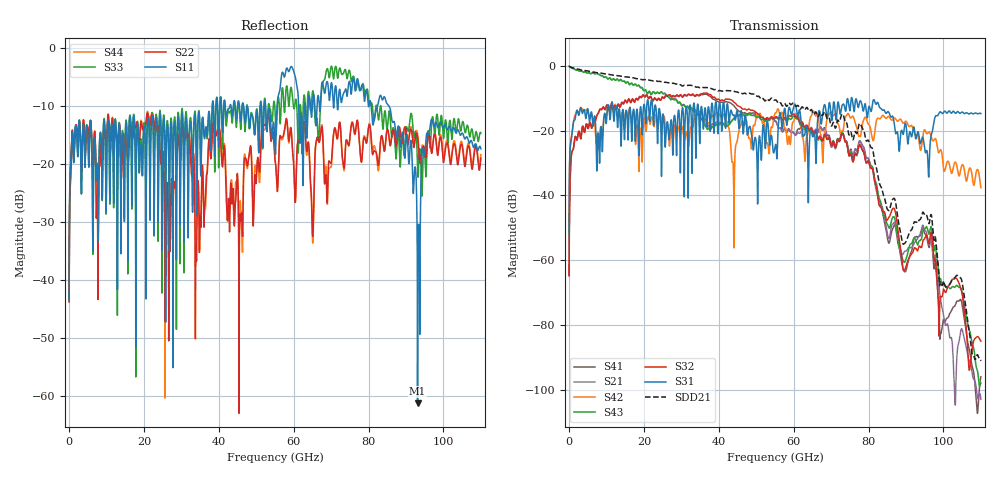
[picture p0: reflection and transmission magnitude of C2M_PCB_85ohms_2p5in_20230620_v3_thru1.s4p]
! Info: Touchstone file created by Circ.  Input file=C2M_PCB_85ohms_2p5in_20230620_v3.circ
# Hz S RI R 50
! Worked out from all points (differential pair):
!   11000 points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, 10 MHz to 110 GHz, reference 50 ohm
!   strongest paths, dB at 10 MHz, 27.51 GHz, 55.01 GHz, 82.51 GHz, 110 GHz:
!     S31: -52.2, -19.5, -25.0, -11.4, -14.7
!     S32: -64.8, -9.4, -15.8, -41.0, -85.0
!     S43: -0.1, -10.2, -16.2, -39.3, -97.9
!     S42: -52.1, -21.2, -14.6, -16.1, -37.6
!     S21: -0.1, -9.9, -16.8, -40.6, -103.0
!     S41: -64.7, -9.6, -17.0, -39.5, -96.0
!   taken as a pair (ports 3,1 in; 4,2 out), SDD21 dB: -0.1, -5.4, -10.5, -34.0, -91.1
!   lowest |S11| = -61.2 dB at 93.08 GHz (marker M1), VSWR 1.00, Z = 50 - j0.0863 ohm
!   |S11| at or under -10 dB: start of sweep to 38.25 GHz; 46.61 GHz to 51.09 GHz (4.479 GHz wide, 9.17 % of centre); 85.39 GHz to end of sweep (the widest 3 of 21)
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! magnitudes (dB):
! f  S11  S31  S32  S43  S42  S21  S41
! 10 MHz  -43.4  -52.2  -64.8  -0.1  -52.1  -0.1  -64.7
! 1.85 GHz  -13.5  -14.7  -22.1  -1.3  -14.7  -1.3  -22.1
! 8.57 GHz  -15.8  -18.7  -13.5  -3.0  -19.4  -3.0  -13.5
! 36.43 GHz  -14.2  -13.4  -8.4  -18.5  -16.4  -17.9  -8.7
! 73.05 GHz  -8.4  -12.0  -21.0  -20.7  -20.1  -20.9  -20.7
! 93.08 GHz  -61.2  -20.5  -57.1  -55.3  -21.2  -53.4  -52.8
! 110 GHz  -17.4  -14.7  -85.0  -97.9  -37.6  -103.0  -96.0
